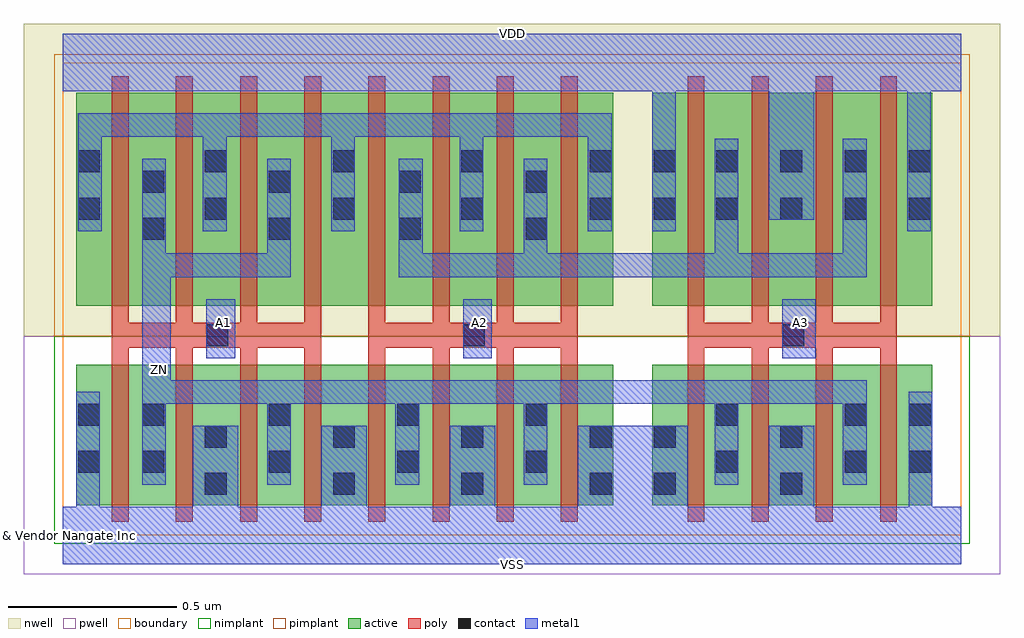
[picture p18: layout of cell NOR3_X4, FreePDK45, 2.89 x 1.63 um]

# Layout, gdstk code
import gdstk
lib = gdstk.Library(unit=1e-6, precision=1e-10)
def R(c, l, rs):  # rectangles x0, y0, x1, y1
    for r in rs: c.add(gdstk.rectangle(r[:2], r[2:], *l))
def A(c, l, x, y, w, h, nx, ny, dx, dy):  # array of equal rectangles
    R(c, l, [(x+i*dx, y+j*dy, x+i*dx+w, y+j*dy+h) for i in range(nx) for j in range(ny)])
def P(c, l, *ps):  # polygons
    for p in ps: c.add(gdstk.Polygon(p, *l))
active = (1, 0)
pwell = (2, 0)
nwell = (3, 0)
nimplant = (4, 0)
pimplant = (5, 0)
poly = (9, 0)
contact = (10, 0)
metal1 = (11, 0)
boundary = (235, 0)

nor3_x4 = lib.new_cell('NOR3_X4')
R(nor3_x4, active, [(0.04,0.09,1.63,0.505), (1.745,0.09,2.575,0.505), (0.04,0.68,1.63,1.31), (1.745,0.68,2.575,1.31)])
R(nor3_x4, pwell, [(-0.115,-0.115,2.775,0.59)])
R(nor3_x4, nwell, [(-0.115,0.59,2.775,1.515)])
R(nor3_x4, nimplant, [(-0.025,-0.025,2.685,0.59)])
R(nor3_x4, pimplant, [(-0.025,0.59,2.685,1.425)])
P(nor3_x4, poly, [(0.145,0.04),(0.145,1.36),(0.195,1.36),(0.195,0.63),(0.335,0.63),(0.335,1.36),(0.385,1.36),(0.385,0.63),(0.525,0.63),(0.525,1.36),(0.575,1.36),(0.575,0.63),(0.715,0.63),(0.715,1.36),(0.765,1.36),(0.765,0.04),(0.715,0.04),(0.715,0.555),(0.575,0.555),(0.575,0.04),(0.525,0.04),(0.525,0.555),(0.385,0.555),(0.385,0.04),(0.335,0.04),(0.335,0.555),(0.195,0.555),(0.195,0.04)],
  [(0.905,0.04),(0.905,1.36),(0.955,1.36),(0.955,0.63),(1.095,0.63),(1.095,1.36),(1.145,1.36),(1.145,0.63),(1.285,0.63),(1.285,1.36),(1.335,1.36),(1.335,0.63),(1.475,0.63),(1.475,1.36),(1.525,1.36),(1.525,0.04),(1.475,0.04),(1.475,0.555),(1.335,0.555),(1.335,0.04),(1.285,0.04),(1.285,0.555),(1.145,0.555),(1.145,0.04),(1.095,0.04),(1.095,0.555),(0.955,0.555),(0.955,0.04)],
  [(1.85,0.04),(1.85,1.36),(1.9,1.36),(1.9,0.63),(2.04,0.63),(2.04,1.36),(2.09,1.36),(2.09,0.63),(2.23,0.63),(2.23,1.36),(2.28,1.36),(2.28,0.63),(2.42,0.63),(2.42,1.36),(2.47,1.36),(2.47,0.04),(2.42,0.04),(2.42,0.555),(2.28,0.555),(2.28,0.04),(2.23,0.04),(2.23,0.555),(2.09,0.555),(2.09,0.04),(2.04,0.04),(2.04,0.555),(1.9,0.555),(1.9,0.04)])
A(nor3_x4, contact, 0.42, 0.12, 0.065, 0.065, 4, 2, 0.38, 0.14)
A(nor3_x4, contact, 0.61, 0.185, 0.065, 0.065, 3, 2, 0.38, 0.14)
A(nor3_x4, contact, 0.42, 0.935, 0.065, 0.065, 4, 2, 0.38, 0.14)
A(nor3_x4, contact, 1.935, 0.935, 0.065, 0.065, 4, 2, 0.19, 0.14)
R(nor3_x4, contact, [(1.75,0.12,1.815,0.185), (2.125,0.12,2.19,0.185), (0.045,0.185,0.11,0.25), (0.235,0.185,0.3,0.25), (1.935,0.185,2,0.25), (2.315,0.185,2.38,0.25), (2.505,0.185,2.57,0.25), (1.75,0.26,1.815,0.325), (2.125,0.26,2.19,0.325), (0.045,0.325,0.11,0.39), (0.235,0.325,0.3,0.39), (1.935,0.325,2,0.39), (2.315,0.325,2.38,0.39), (2.505,0.325,2.57,0.39), (0.425,0.56,0.49,0.625), (1.185,0.56,1.25,0.625), (2.13,0.56,2.195,0.625), (0.235,0.875,0.3,0.94), (0.61,0.875,0.675,0.94), (0.995,0.875,1.06,0.94), (1.37,0.875,1.435,0.94), (0.045,0.935,0.11,1), (1.75,0.935,1.815,1), (0.235,1.015,0.3,1.08), (0.61,1.015,0.675,1.08), (0.995,1.015,1.06,1.08), (1.37,1.015,1.435,1.08), (0.045,1.075,0.11,1.14), (1.75,1.075,1.815,1.14)])
R(nor3_x4, metal1, [(0.425,0.525,0.51,0.7), (1.185,0.525,1.27,0.7), (2.13,0.525,2.23,0.7)])
P(nor3_x4, metal1, [(0.045,0.9),(0.045,1.25),(1.625,1.25),(1.625,0.9),(1.555,0.9),(1.555,1.18),(1.245,1.18),(1.245,0.9),(1.175,0.9),(1.175,1.18),(0.865,1.18),(0.865,0.9),(0.795,0.9),(0.795,1.18),(0.485,1.18),(0.485,0.9),(0.415,0.9),(0.415,1.18),(0.115,1.18),(0.115,0.9)],
  [(0.235,0.15),(0.235,1.115),(0.305,1.115),(0.305,0.835),(0.605,0.835),(0.605,1.115),(0.675,1.115),(0.675,0.765),(0.32,0.765),(0.32,0.46),(2.38,0.46),(2.38,0.15),(2.31,0.15),(2.31,0.39),(2,0.39),(2,0.15),(1.93,0.15),(1.93,0.39),(1.435,0.39),(1.435,0.15),(1.365,0.15),(1.365,0.39),(1.055,0.39),(1.055,0.15),(0.985,0.15),(0.985,0.39),(0.675,0.39),(0.675,0.15),(0.605,0.15),(0.605,0.39),(0.305,0.39),(0.305,0.15)],
  [(0.995,0.765),(0.995,1.115),(1.065,1.115),(1.065,0.835),(1.365,0.835),(1.365,1.115),(1.435,1.115),(1.435,0.835),(1.93,0.835),(1.93,1.175),(2,1.175),(2,0.835),(2.31,0.835),(2.31,1.175),(2.38,1.175),(2.38,0.765)],
  [(0,-0.085),(0,0.085),(0.04,0.085),(0.04,0.425),(0.11,0.425),(0.11,0.085),(0.385,0.085),(0.385,0.325),(0.52,0.325),(0.52,0.085),(0.765,0.085),(0.765,0.325),(0.9,0.325),(0.9,0.085),(1.145,0.085),(1.145,0.325),(1.28,0.325),(1.28,0.085),(1.525,0.085),(1.525,0.325),(1.85,0.325),(1.85,0.085),(2.09,0.085),(2.09,0.325),(2.225,0.325),(2.225,0.085),(2.505,0.085),(2.505,0.425),(2.575,0.425),(2.575,0.085),(2.66,0.085),(2.66,-0.085)],
  [(1.745,0.9),(1.745,1.315),(0,1.315),(0,1.485),(2.66,1.485),(2.66,1.315),(2.57,1.315),(2.57,0.9),(2.5,0.9),(2.5,1.315),(2.225,1.315),(2.225,0.935),(2.09,0.935),(2.09,1.315),(1.815,1.315),(1.815,0.9)])
R(nor3_x4, boundary, [(0,0,2.66,1.4)])
nor3_x4.add(gdstk.Label('A1', (0.475,0.63), layer=11, texttype=0))
nor3_x4.add(gdstk.Label('A2', (1.235,0.63), layer=11, texttype=0))
nor3_x4.add(gdstk.Label('A3', (2.185,0.63), layer=11, texttype=0))
nor3_x4.add(gdstk.Label('VDD', (1.33,1.485), layer=11, texttype=0))
nor3_x4.add(gdstk.Label('VSS', (1.33,-0.085), layer=11, texttype=0))
nor3_x4.add(gdstk.Label('ZN', (0.285,0.49), layer=11, texttype=0))
nor3_x4.add(gdstk.Label('& Vendor Nangate Inc', (0,0), layer=63, texttype=63))
nor3_x4.add(gdstk.Label('& Product Open Cell Library', (0,0), layer=63, texttype=63))
nor3_x4.add(gdstk.Label('& Version 2010_12', (0,0), layer=63, texttype=63))
nor3_x4.add(gdstk.Label('& Instance NOR3_X4', (0,0), layer=63, texttype=63))

lib.write_gds('NOR3_X4.gds')
